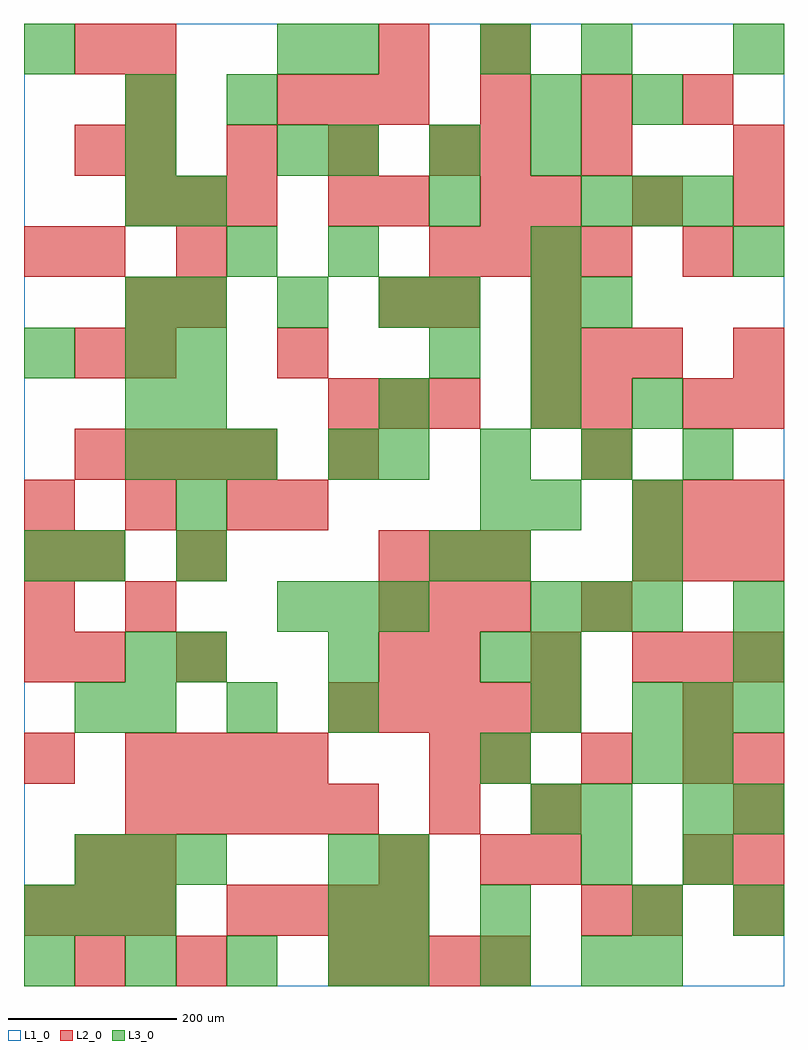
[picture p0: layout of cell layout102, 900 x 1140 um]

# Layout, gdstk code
import gdstk
lib = gdstk.Library(unit=1e-6, precision=1e-09)
def R(c, l, rs):  # rectangles x0, y0, x1, y1
    for r in rs: c.add(gdstk.rectangle(r[:2], r[2:], *l))
def A(c, l, x, y, w, h, nx, ny, dx, dy):  # array of equal rectangles
    R(c, l, [(x+i*dx, y+j*dy, x+i*dx+w, y+j*dy+h) for i in range(nx) for j in range(ny)])
L1_0 = (1, 0)
L2_0 = (2, 0)
L3_0 = (3, 0)

layout102 = lib.new_cell('layout102')
R(layout102, L1_0, [(0,0,900,1140)])
A(layout102, L2_0, 360, 0, 60, 60, 4, 1, 60, 0)
A(layout102, L2_0, 0, 60, 60, 60, 3, 1, 60, 0)
A(layout102, L2_0, 240, 60, 60, 60, 4, 1, 60, 0)
A(layout102, L2_0, 840, 60, 60, 60, 1, 4, 0, 60)
A(layout102, L2_0, 120, 120, 60, 60, 1, 3, 0, 300)
A(layout102, L2_0, 120, 180, 60, 60, 5, 1, 60, 0)
A(layout102, L2_0, 120, 240, 60, 60, 4, 1, 60, 0)
A(layout102, L2_0, 540, 240, 60, 60, 3, 2, 120, 780)
A(layout102, L2_0, 360, 300, 60, 60, 5, 1, 60, 0)
A(layout102, L2_0, 0, 360, 60, 60, 1, 3, 0, 60)
A(layout102, L2_0, 480, 360, 60, 60, 3, 1, 120, 0)
A(layout102, L2_0, 420, 420, 60, 60, 3, 2, 60, 60)
A(layout102, L2_0, 720, 480, 60, 60, 3, 2, 60, 60)
A(layout102, L2_0, 0, 540, 60, 60, 3, 1, 120, 0)
A(layout102, L2_0, 60, 600, 60, 60, 4, 1, 60, 0)
A(layout102, L2_0, 360, 660, 60, 60, 3, 1, 60, 0)
A(layout102, L2_0, 60, 720, 60, 60, 1, 4, 0, 120)
A(layout102, L2_0, 600, 720, 60, 60, 3, 1, 60, 0)
A(layout102, L2_0, 480, 840, 60, 60, 4, 1, 60, 0)
A(layout102, L2_0, 120, 900, 60, 60, 3, 1, 60, 0)
A(layout102, L2_0, 600, 900, 60, 60, 3, 1, 120, 0)
A(layout102, L2_0, 120, 960, 60, 60, 4, 1, 120, 0)
A(layout102, L2_0, 300, 1020, 60, 60, 3, 1, 60, 0)
R(layout102, L2_0, [(60,0,120,60), (180,0,240,60), (660,60,720,120), (720,60,780,120), (60,120,120,180), (420,120,480,180), (540,120,600,180), (600,120,660,180), (780,120,840,180), (480,180,540,240), (600,180,660,240), (0,240,60,300), (480,240,540,300), (780,300,840,360), (60,360,120,420), (180,360,240,420), (420,360,480,420), (780,360,840,420), (840,360,900,420), (660,420,720,480), (60,480,120,540), (180,480,240,540), (300,540,360,600), (360,600,420,660), (660,600,720,660), (600,660,660,720), (660,660,720,720), (780,660,840,720), (840,660,900,720), (300,720,360,780), (840,720,900,780), (120,780,180,840), (180,780,240,840), (420,780,480,840), (480,780,540,840), (600,780,660,840), (0,840,60,900), (180,840,240,900), (780,840,840,900), (360,900,420,960), (420,900,480,960), (540,900,600,960), (540,960,600,1020), (660,960,720,1020), (840,960,900,1020), (120,1020,180,1080), (120,1080,180,1140), (420,1080,480,1140), (540,1080,600,1140)])
A(layout102, L3_0, 0, 0, 60, 60, 4, 1, 120, 0)
A(layout102, L3_0, 420, 0, 60, 60, 3, 1, 120, 0)
A(layout102, L3_0, 0, 60, 60, 60, 3, 1, 60, 0)
A(layout102, L3_0, 60, 120, 60, 60, 3, 1, 60, 0)
A(layout102, L3_0, 360, 120, 60, 60, 1, 3, 0, 480)
A(layout102, L3_0, 780, 120, 60, 60, 1, 3, 0, 60)
A(layout102, L3_0, 120, 300, 60, 60, 3, 1, 120, 0)
A(layout102, L3_0, 720, 300, 60, 60, 3, 1, 60, 0)
A(layout102, L3_0, 180, 360, 60, 60, 3, 1, 180, 0)
A(layout102, L3_0, 300, 420, 60, 60, 3, 1, 60, 0)
A(layout102, L3_0, 600, 420, 60, 60, 3, 1, 60, 0)
A(layout102, L3_0, 120, 600, 60, 60, 3, 1, 60, 0)
A(layout102, L3_0, 420, 600, 60, 60, 4, 1, 120, 0)
A(layout102, L3_0, 120, 660, 60, 60, 1, 3, 0, 60)
A(layout102, L3_0, 600, 660, 60, 60, 1, 3, 0, 60)
A(layout102, L3_0, 180, 780, 60, 60, 3, 1, 120, 0)
A(layout102, L3_0, 360, 840, 60, 60, 3, 1, 240, 0)
A(layout102, L3_0, 120, 900, 60, 60, 1, 3, 0, 60)
A(layout102, L3_0, 660, 900, 60, 60, 3, 1, 60, 0)
A(layout102, L3_0, 360, 960, 60, 60, 3, 1, 120, 0)
R(layout102, L3_0, [(720,0,780,60), (360,60,420,120), (420,60,480,120), (540,60,600,120), (720,60,780,120), (840,60,900,120), (420,120,480,180), (660,120,720,180), (600,180,660,240), (660,180,720,240), (840,180,900,240), (540,240,600,300), (720,240,780,300), (60,300,120,360), (600,300,660,360), (120,360,180,420), (600,360,660,420), (840,360,900,420), (840,420,900,480), (0,480,60,540), (60,480,120,540), (180,480,240,540), (480,480,540,540), (540,480,600,540), (720,480,780,540), (180,540,240,600), (540,540,600,600), (600,540,660,600), (720,540,780,600), (180,660,240,720), (420,660,480,720), (720,660,780,720), (0,720,60,780), (180,720,240,780), (480,720,540,780), (480,780,540,840), (660,780,720,840), (240,840,300,900), (180,900,240,960), (480,900,540,960), (300,960,360,1020), (240,1020,300,1080), (600,1020,660,1080), (720,1020,780,1080), (0,1080,60,1140), (300,1080,360,1140), (540,1080,600,1140), (660,1080,720,1140), (840,1080,900,1140)])

lib.write_gds('layout102.gds')
